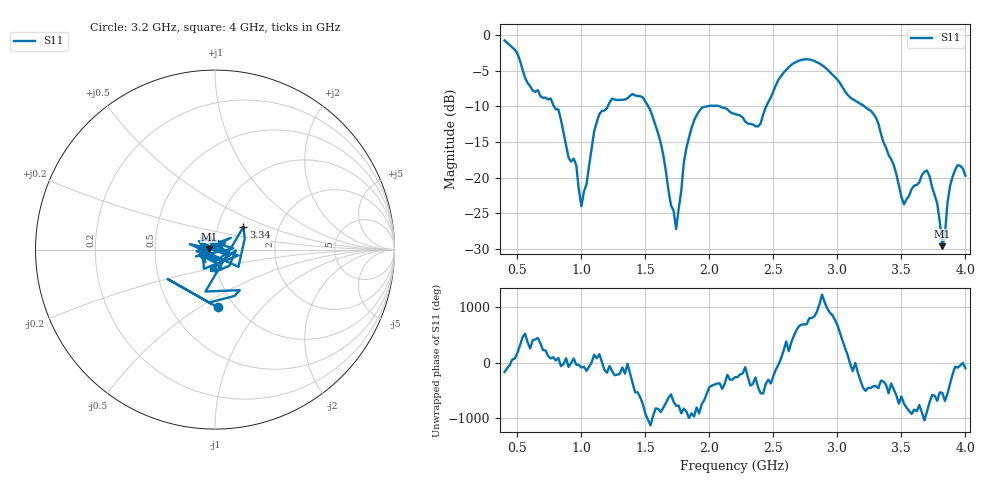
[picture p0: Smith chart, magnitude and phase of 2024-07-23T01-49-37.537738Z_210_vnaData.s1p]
!Created with skrf (http://scikit-rf.org).
# Hz S RI R 50.0
!freq ReS11 ImS11
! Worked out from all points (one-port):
!   181 points, 400 MHz to 4 GHz, reference 50 ohm
!   lowest |S11| = -29.6 dB at 3.82 GHz (marker M1), VSWR 1.07, Z = 46.8 + j0.26 ohm
!   |S11| at or under -10 dB: 785.7 MHz to 1.206 GHz (420.5 MHz wide, 42.2 % of centre); 1.522 GHz to 1.987 GHz (465.3 MHz wide, 26.5 % of centre); 3.209 GHz to end of sweep (the widest 3 of 4)
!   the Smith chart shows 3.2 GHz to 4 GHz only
!   S11 on the Smith chart (normalised r, x): 3.2 GHz: 0.83, -0.60; 3.34 GHz: 1.32, +0.35; 4 GHz: 0.95, -0.20
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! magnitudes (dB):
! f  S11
! 400 MHz  -0.8
! 620 MHz  -7.8
! 820 MHz  -10.4
! 860 MHz  -13.6
! 960 MHz  -18.3
! 1 GHz  -24.0
! 1.14 GHz  -11.1
! 1.3 GHz  -9.1
! 1.52 GHz  -9.9
! 1.62 GHz  -15.1
! 1.74 GHz  -27.2
! 1.76 GHz  -24.4
! 1.82 GHz  -15.9
! 1.9 GHz  -11.3
! 2.2 GHz  -11.1
! 2.38 GHz  -12.8
! 2.66 GHz  -3.9
! 2.86 GHz  -4.0
! 3.1 GHz  -8.8
! 3.2 GHz  -9.9
! 3.34 GHz  -13.8
! 3.52 GHz  -23.7
! 3.56 GHz  -22.5
! 3.7 GHz  -19.0
! 3.78 GHz  -23.6
! 3.82 GHz  -29.6
! 3.9 GHz  -19.9
! 4 GHz  -19.7
